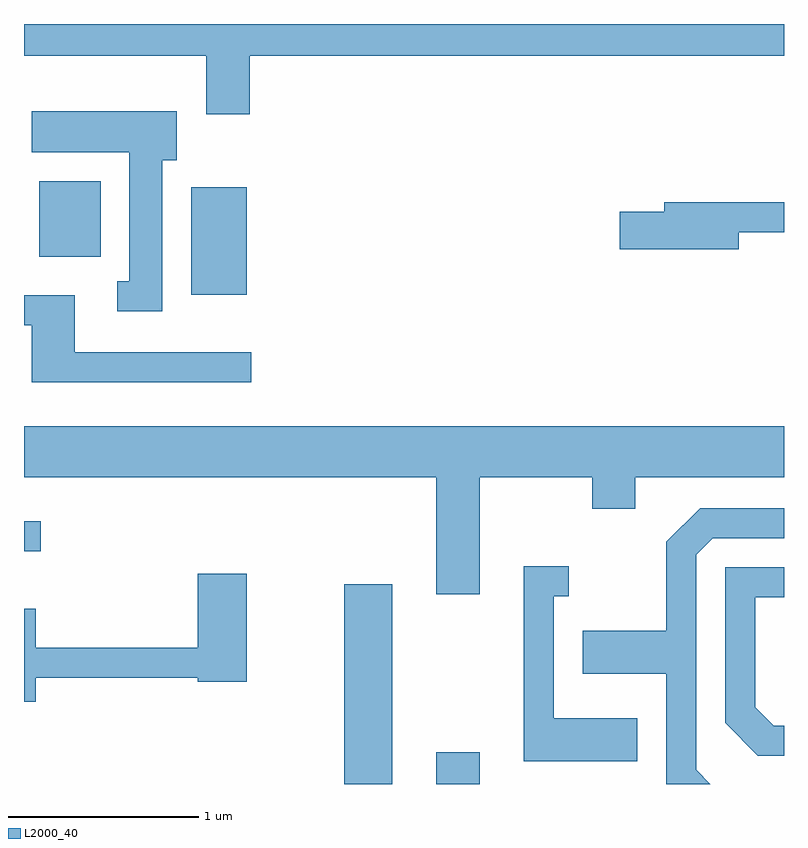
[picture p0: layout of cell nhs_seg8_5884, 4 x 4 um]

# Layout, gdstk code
import gdstk
lib = gdstk.Library(unit=1e-6, precision=1e-09)
def R(c, l, rs):  # rectangles x0, y0, x1, y1
    for r in rs: c.add(gdstk.rectangle(r[:2], r[2:], *l))
def P(c, l, *ps):  # polygons
    for p in ps: c.add(gdstk.Polygon(p, *l))
L2000_40 = (2000, 40)

nhs_seg8_5884 = lib.new_cell('nhs_seg8_5884')
R(nhs_seg8_5884, L2000_40, [(363.296,1850.342,363.549,1851.394), (363.781,1850.342,364.009,1850.509), (361.611,1851.566,361.698,1851.724), (362.491,1852.916,362.784,1853.484), (361.691,1853.116,362.014,1853.514)])
P(nhs_seg8_5884, L2000_40, [(365.611,1854.342),(361.611,1854.342),(361.611,1854.176),(362.571,1854.176),(362.571,1853.866),(362.799,1853.866),(362.799,1854.176),(365.611,1854.176)],
  [(362.339,1853.626),(362.414,1853.626),(362.414,1853.884),(361.651,1853.884),(361.651,1853.666),(362.166,1853.666),(362.166,1852.989),(362.103,1852.989),(362.103,1852.831),(362.339,1852.831)],
  [(365.374,1853.246),(365.611,1853.246),(365.611,1853.404),(364.981,1853.404),(364.981,1853.354),(364.746,1853.354),(364.746,1853.156),(365.374,1853.156)],
  [(362.808,1852.614),(361.879,1852.614),(361.879,1852.914),(361.611,1852.914),(361.611,1852.756),(361.651,1852.756),(361.651,1852.456),(362.808,1852.456)],
  [(364.009,1851.956),(364.601,1851.956),(364.601,1851.791),(364.829,1851.791),(364.829,1851.956),(365.611,1851.956),(365.611,1852.224),(361.611,1852.224),(361.611,1851.956),(363.781,1851.956),(363.781,1851.341),(364.009,1851.341)],
  [(365.149,1850.417),(365.149,1851.549),(365.237,1851.636),(365.611,1851.636),(365.611,1851.794),(365.169,1851.794),(364.991,1851.617),(364.991,1851.149),(364.551,1851.149),(364.551,1850.921),(364.991,1850.921),(364.991,1850.342),(365.224,1850.342)],
  [(364.839,1850.689),(364.399,1850.689),(364.399,1851.331),(364.478,1851.331),(364.478,1851.489),(364.241,1851.489),(364.241,1850.461),(364.839,1850.461)],
  [(365.611,1850.649),(365.557,1850.649),(365.459,1850.747),(365.459,1851.326),(365.611,1851.326),(365.611,1851.484),(365.301,1851.484),(365.301,1850.664),(365.474,1850.491),(365.611,1850.491)],
  [(361.674,1850.901),(362.526,1850.901),(362.526,1850.881),(362.784,1850.881),(362.784,1851.449),(362.526,1851.449),(362.526,1851.059),(361.674,1851.059),(361.674,1851.264),(361.611,1851.264),(361.611,1850.776),(361.674,1850.776)])

lib.write_gds('nhs_seg8_5884.gds')
